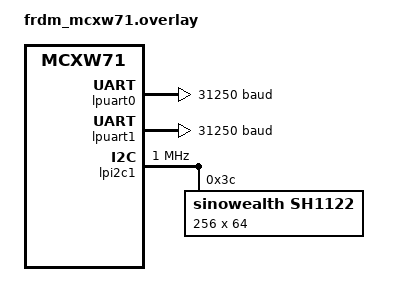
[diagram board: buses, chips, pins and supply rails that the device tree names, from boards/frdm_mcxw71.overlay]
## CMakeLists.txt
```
# @file CMakeLists.txt for the MIDI1.0 BLE heartrate sensor
#
# @author Jan-Willem Smaal <usenet@gispen.org> 
# @date 20260119 
# SPDX-License-Identifier: Apache-2.0
cmake_minimum_required(VERSION 3.20.0)
find_package(Zephyr REQUIRED HINTS $ENV{ZEPHYR_BASE})
project(central_hr)

# for the USB MIDI sources
include(common/common.cmake)

# Application logic
FILE(GLOB app_sources src/*.c)

target_include_directories(app PRIVATE)

target_sources(app PRIVATE
	${app_sources})

zephyr_library_include_directories(${ZEPHYR_BASE}/samples/bluetooth)
```

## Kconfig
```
source "Kconfig.zephyr"
rsource "src/Kconfig"

# Copyright (c) 2024 Titouan Christophe
# SPDX-License-Identifier: Apache-2.0

# Copyright (c) 2023 Nordic Semiconductor ASA
# SPDX-License-Identifier: Apache-2.0

menu "USB sample options"
	depends on USB_DEVICE_STACK_NEXT

config SAMPLE_USBD_MANUFACTURER
	string "USB device sample manufacturer string"
	default "Jan-Willem Smaal"
	help
	  USB device sample manufacturer string.

config SAMPLE_USBD_PRODUCT
	string "USB device sample product string"
	default "USBD"
	help
	  USB device sample product stringa.

config SAMPLE_USBD_PID
	hex "USB device sample Product ID"
	default 0x0011
	help
	  USB device sample Product ID.

config SAMPLE_USBD_SELF_POWERED
	bool "USB device sample Self-powered attribute"
	default y
	help
	  Set the Self-powered attribute in the sample configuration.

config SAMPLE_USBD_REMOTE_WAKEUP
	bool "USB device sample Remote Wakeup attribute"
	help
	  Set the Remote Wakeup attribute in the sample configuration.

config SAMPLE_USBD_MAX_POWER
	int "USB device sample bMaxPower value"
	default 125
	range 0 250
	help
	  bMaxPower value in the sample configuration in 2 mA units.

config SAMPLE_USBD_20_EXTENSION_DESC
	bool "Use default USB 2.0 Extension Descriptor"
	depends on USBD_BOS_SUPPORT
	help
	  Set bcdUSB value to 0201 and use default USB 2.0 Extension Descriptor.

endmenu
```

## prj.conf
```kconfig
##########################################################################
# @file prj.conf
# @brief This BLE + MIDI1.0 Zepyr application takes a BPM reading from
# BLE and transmits/generates a MIDI clock on the serial USART.
# @note
#
# @author Jan-Willem Smaal <usenet@gispen.org
# @date 20251220
# license SPDX-License-Identifier: Apache-2.0
##########################################################################
CONFIG_THREAD_NAME=y
CONFIG_INIT_STACKS=y
CONFIG_STACK_SENTINEL=n
CONFIG_ASSERT=n
CONFIG_LOG=y
CONFIG_LOG_DEFAULT_LEVEL=3
CONFIG_LOG_MODE_DEFERRED=n

# Some shell commands to look at the stack during runtime.
CONFIG_SHELL=y
CONFIG_UART_CONSOLE=y
CONFIG_CONSOLE=y
CONFIG_DEVICE_SHELL=y
CONFIG_SHELL_CMDS=y
CONFIG_KERNEL_SHELL=y
CONFIG_THREAD_MONITOR=y
CONFIG_THREAD_STACK_INFO=y
CONFIG_SYS_HEAP_RUNTIME_STATS=y


##########################################################################
# All the MIDI1.0 stuff by Jan-Willem Smaal 
##########################################################################
CONFIG_SERIAL=y
CONFIG_UART_INTERRUPT_DRIVEN=y
CONFIG_MIDI1_SERIAL=y
CONFIG_COUNTER=y
CONFIG_MIDI1_CLOCK_CNTR=y
CONFIG_MIDI1_CLOCK_MEAS_CNTR=y

##########################################################################
# Tune these settings to reduce the RAM footprint
##########################################################################
#CONFIG_IDLE_STACK_SIZE=128
# Heap: enough for CFB + SH1122 conversion buffer
#CONFIG_HEAP_MEM_POOL_SIZE=4096
# Stacks: enough to avoid corruption during SH1122 writes
CONFIG_MAIN_STACK_SIZE=4096
#CONFIG_SYSTEM_WORKQUEUE_STACK_SIZE=2048
CONFIG_ISR_STACK_SIZE=4096


##########################################################################
# Configure displays
##########################################################################
CONFIG_DISPLAY=y


##########################################################################
# BLE configs
##########################################################################
CONFIG_BT=y
CONFIG_LOG=y
CONFIG_BT_CENTRAL=y
CONFIG_BT_SMP=y
CONFIG_BT_GATT_CLIENT=y


##########################################################################
# USBD MIDI2.0 device support
##########################################################################
CONFIG_USB_DEVICE_STACK_NEXT=y
CONFIG_CDC_ACM_SERIAL_INITIALIZE_AT_BOOT=n
CONFIG_USBD_MIDI2_CLASS=y
CONFIG_SAMPLE_USBD_PRODUCT="USB MIDI2.0 J-W Smaal"
CONFIG_SAMPLE_USBD_PID=0x0011
CONFIG_USBD_LOG_LEVEL_WRN=n
CONFIG_UDC_DRIVER_LOG_LEVEL_WRN=n
CONFIG_MIDI2_UMP_STREAM_RESPONDER=y

# EOF
```

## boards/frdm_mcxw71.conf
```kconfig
##########################################################################
# @brief FRDM_MCXW71 additional .conf settings
# @author Jan-Willem Smaal <usenet@gispen.org
##########################################################################
# Don't want a shell on this board as the UART is used for MIDI
CONFIG_SHELL=n
CONFIG_UART_CONSOLE=n
CONFIG_CONSOLE=n
CONFIG_DEVICE_SHELL=n
CONFIG_SHELL_CMDS=n
CONFIG_KERNEL_SHELL=n
CONFIG_THREAD_MONITOR=n
CONFIG_THREAD_STACK_INFO=n
CONFIG_SYS_HEAP_RUNTIME_STATS=n


##########################################################################
# Tune these settings to reduce the RAM footprint
##########################################################################
#CONFIG_IDLE_STACK_SIZE=512
# Heap: enough for CFB + SH1122 conversion buffer
CONFIG_HEAP_MEM_POOL_SIZE=16448
# Stacks: enough to avoid corruption during SH1122 writes
#CONFIG_MAIN_STACK_SIZE=4096
#CONFIG_SYSTEM_WORKQUEUE_STACK_SIZE=2048
#CONFIG_ISR_STACK_SIZE=4096


##########################################################################
# Configure I2C displays 
##########################################################################
CONFIG_SH1122=y
CONFIG_DISPLAY_LOG_LEVEL_DBG=n
CONFIG_CHARACTER_FRAMEBUFFER=y
CONFIG_CHARACTER_FRAMEBUFFER_USE_DEFAULT_FONTS=y

# LVGL 
#
CONFIG_LVGL=y
CONFIG_LV_COLOR_DEPTH_32=y
CONFIG_DISPLAY=y
CONFIG_LVGL=y
#CONFIG_LV_Z_MEM_POOL_SIZE=16384
CONFIG_LV_Z_MEM_POOL_SIZE=32768

CONFIG_DISPLAY=y
CONFIG_INPUT=y


CONFIG_LV_FONT_MONTSERRAT_12=y
CONFIG_LV_FONT_MONTSERRAT_14=y
CONFIG_LV_FONT_MONTSERRAT_16=y
CONFIG_LV_FONT_MONTSERRAT_18=y
CONFIG_LV_FONT_MONTSERRAT_24=y
CONFIG_LV_USE_FONT_COMPRESSED=y


# EOF
```

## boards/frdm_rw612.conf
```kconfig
##########################################################################
#0 @brief FRDM_RW612 additional .conf settings
# @author Jan-Willem Smaal <usenet@gispen.org
##########################################################################

##########################################################################
# Tune these settings to reduce the RAM footprint
##########################################################################
#CONFIG_HEAP_MEM_POOL_SIZE=60000
#CONFIG_MAIN_STACK_SIZE=4096
#CONFIG_ISR_STACK_SIZE=8000

CONFIG_LVGL=y
CONFIG_LV_COLOR_DEPTH_32=y
CONFIG_DISPLAY=y
CONFIG_LVGL=y
#CONFIG_LV_Z_MEM_POOL_SIZE=16384
CONFIG_LV_Z_MEM_POOL_SIZE=32768

CONFIG_DISPLAY=y
CONFIG_INPUT=y


CONFIG_LV_FONT_MONTSERRAT_12=y
CONFIG_LV_FONT_MONTSERRAT_14=y
CONFIG_LV_FONT_MONTSERRAT_16=y
CONFIG_LV_FONT_MONTSERRAT_18=y
CONFIG_LV_FONT_MONTSERRAT_24=y
CONFIG_LV_USE_FONT_COMPRESSED=y


# EOF
```

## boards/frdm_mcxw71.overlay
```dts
/*
 * @brief FRDM-MCXW71 board configuration for the MIDI1.0 demo
 * @note
 *
 * @author Jan-Willem Smaal
 * @date 20250101
 * SPDX-License-Identifier: Apache-2.0
 */

/*
 * Classic MIDI1.0 over DIN5 plug.
 * note on the FRDM-MCXC242 the LPUART0 is shared with the MCU_LINK.
 * so be aware!   If you send printk's you need to set the baud rate
 * to 31250 from the default 115200 to see something usefull
 *
 * Also note anything you send out to the MCU_LINK will end up on the MIDI
 * port!
 *
 */
&lpuart0 {
	status = "okay";
	/* Set it to the MIDI baud rate */
	current-speed = <31250>;
};

/* This one is on the MIKRObus and is not shared with the MCU_LINK. */
&lpuart1 {
	status = "okay";
	/* Set it to the MIDI baud rate */
	current-speed = <31250>;
};

/*
 * This is the I2C module connected via the MIKRO bus 
 */
&lpi2c1 {
 	status = "okay";
	pinctrl-0 = <&pinmux_lpi2c1>;
	pinctrl-names = "default";
	clock-frequency = <I2C_BITRATE_FAST_PLUS>;
	/* 	clock-frequency = <I2C_BITRATE_FAST>; */

	sh1122: sh1122@3c {
		status = "okay";
		compatible = "sinowealth,sh1122";
		reg = <0x3c>;
		start-line = <0>;
		label = "SH1122";
		width = <256>;
		height = <64>;
		display-offset = <0>;
		multiplex-ratio = <63>;
		oscillator-freq = <0x90>;
		start-line = <0>;
		phase-length = <0x31>;
		vcomh-voltage = <0x28>;
		precharge-voltage = <0x22>;
		dc-dc = <1>;
		low-voltage = <0x0>;
	};
};

/* Overlay enabling LPIT0 channel 0 */
/*
&lpit0 {
    status = "okay";

    lpit1_channel0: lpit_channel@0 {
        status = "okay";
    };
};
*/


/ {
	aliases {
		i2c0 = &lpi2c1;
	};
	midi0: midi0 {
		status = "okay";
		compatible = "midi1_serial";
		uart = <&lpuart0>;
	};
	midi1: midi1 {
		status = "okay";
		compatible = "midi1_serial";
		uart = <&lpuart1>;
	};
	chosen {
                zephyr,display = &sh1122; 
        };
};
```

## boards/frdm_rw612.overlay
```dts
/**
 * Device tree overlay created for the FRDM_RW612 development kit
 * adjusted the pinmux so that we can use it for MIDI out and in.
 * @author Jan-Willem Smaal <usenet@gispen.org>
 * @date 20241223
 * updated in 20260206
 * license SPDX-License-Identifier: Apache-2.0
 */
 
 /* Let's make sure both are enabled and act in the same way as the pit0 */
&ctimer0 {
	status = "okay";
	/* Divide 260 MHz by 4 → 24 MHz timer */
	prescale = <11>;
};
&ctimer1 {
	status = "okay";
	/* Divide 260 MHz by 4 → 24 MHz timer */
	prescale = <11>;
};

/* 
 * Configured with the MIDI BAUD rate of 31250 
 * This is the USART on the MIDI arduino shield. 
 * GPIO 8 and 9. 
 */
&flexcomm1 {
	compatible = "nxp,lpc-usart";
	status = "okay";
	current-speed = <31250>;
	pinctrl-0 = <&pinmux_flexcomm1_usart>;
	pinctrl-names = "default";
};

/* 
 * We want to set flexcomm1 to USART instead of the default. 
 * this is why we need to set the pinmux here. 
 */
&pinctrl {
	pinmux_flexcomm1_usart: pinmux_flexcomm1_usart {
		group0 {
			pinmux = <IO_MUX_FC1_USART_DATA>;
			slew-rate = "normal";
		};
	};
};

/ {
	aliases {
		counterch0 = &ctimer0;
		counterch1 = &ctimer1;
	};
	/* MIDI1.0 serial USART driver, set the uart baud to 31250. */
	midi0: midi0 {
		status = "okay";
		compatible = "midi1_serial";
		uart = <&flexcomm1>;
	};
	/* MIDI1.0 clock generator for SERIAL MIDI1.0 */
	midi1_clock_cntr: midi1_clock_cntr {
		status = "okay";
		compatible = "midi1_clock_cntr";
		counter = <&ctimer0>;
		midi1_serial = <&midi0>;
	};
	/* MIDI1.0 clock measurement system using the Zephyr timer */
	midi1_clock_meas_cntr: midi1_clock_meas_cntr {
		status = "okay";
		compatible = "midi1_clock_meas_cntr";
		counter = <&ctimer1>;
	};
	/* Zephyr USB MIDI2.0 driver */ 
	usb_midi: usb_midi {
		compatible = "zephyr,midi2-device";
		status = "okay";
		#address-cells = <1>;
		#size-cells = <1>;
		label = "Zephyr USB-MIDI";

		midi_in_out@0 {
			reg = <0 1>;
			protocol = "midi1-up-to-128b";
			label = "MIDI-IN-OUT";
		};
	};
};

/* EOF */
```

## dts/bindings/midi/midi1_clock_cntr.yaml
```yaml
description: MIDI1 clock system
compatible: "midi1_clock_cntr"

properties:
  counter:
    type: phandle
    required: true
    description: counter device
  midi1_serial:
    type: phandle
    required: true
    description: serial midi1 device
```

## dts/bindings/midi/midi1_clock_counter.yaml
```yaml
description: MIDI1 clock system
compatible: "midi1_clock_counter"

properties:
  counter:
    type: phandle
    required: true
    description: counter device
  midi1_serial:
    type: phandle
    required: true
    description: serial midi1 device
```

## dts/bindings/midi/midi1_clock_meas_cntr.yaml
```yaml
description: MIDI1 clock measurement system
compatible: "midi1_clock_meas_cntr"

properties:
  counter:
    type: phandle
    required: true
    description: counter device
```

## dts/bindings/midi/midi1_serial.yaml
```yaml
description: MIDI1 UART-based MIDI driver
compatible: "midi1_serial"

properties:
  uart:
    type: phandle
    required: true
    description: UART device used for MIDI I/O
```

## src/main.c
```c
/**
 * @brief MIDI 1.0 human clock
 *
 * @author Jan-Willem Smaal <usenet@gispen.org>
 * @date 20260107
 *
 * license SPDX-License-Identifier: Apache-2.0
 */

/*
 * Bluetooth hr central example used is:
 * Copyright (c) 2015-2016 Intel Corporation
 *
 * SPDX-License-Identifier: Apache-2.0
 */
#include <stddef.h>
#include <errno.h>
#include <lvgl.h>
#include <string.h>
#include <zephyr/types.h>
#include <zephyr/kernel.h>
#include <zephyr/logging/log.h>
#include <zephyr/devicetree.h>
#include <zephyr/drivers/display.h>
#include <zephyr/bluetooth/bluetooth.h>
#include <zephyr/bluetooth/hci.h>
#include <zephyr/bluetooth/conn.h>
#include <zephyr/bluetooth/uuid.h>
#include <zephyr/bluetooth/gatt.h>
#include <zephyr/sys/byteorder.h>
#include <zephyr/sys/atomic.h>
#include <zephyr/sys/printk.h>

/*
 * This is part of the MIDI2 library prj.conf
 * CONFIG_MIDI2_UMP_STREAM_RESPONDER=y
 * /zephyr/lib/midi2/ump_stream_responder.h
 * it gets linked in and is required for the USB MIDI support.
 */
#include <sample_usbd.h>
#include <zephyr/usb/class/usbd_midi2.h>
#include <ump_stream_responder.h>

/* This is the MIDI module at: https://github.com/jw-smaal/zephyr-midi1  */
#include <zephyr/drivers/midi/midi1_serial.h>
#include <zephyr/drivers/midi/midi1_clock_cntr.h>
#include <zephyr/drivers/midi/midi1_clock_meas_cntr.h>
#include <zephyr/drivers/midi/midi1_blockavg.h>

/* Some MIDI1 helpers that are not drivers */
#include "midi1_pll.h"
#include "note.h"

/* My application logic */
#include "common.h"
#include "model.h"

LOG_MODULE_REGISTER(midi1_human_clock, CONFIG_LOG_DEFAULT_LEVEL);

#define USB_MIDI_DT_NODE DT_NODELABEL(usb_midi)
static const struct device *const midi_usb = DEVICE_DT_GET(USB_MIDI_DT_NODE);

static void start_scan(void);
static struct bt_conn *default_conn;
static struct bt_uuid_16 discover_uuid = BT_UUID_INIT_16(0);
static struct bt_gatt_discover_params discover_params;
static struct bt_gatt_subscribe_params subscribe_params;
uint64_t total_rx_count; /* This value is exposed to test code */

/* Global BPM set by the bluetooth HR service */
static uint8_t g_bpm = 0;
static atomic_t atom_bpm = ATOMIC_INIT(0);

uint8_t atom_bpm_get(void)
{
	return (uint8_t)atomic_get(&atom_bpm);
}

static uint8_t notify_func(struct bt_conn *conn, struct bt_gatt_subscribe_params *params,
			   const void *data, uint16_t length)
{
	if (!data) {
		LOG_ERR("[UNSUBSCRIBED]");
		params->value_handle = 0U;
		return BT_GATT_ITER_STOP;
	}

	const uint8_t *d = data;

	/* HRM format: d[0] = flags, d[1] = BPM */
	if (length >= 2) {
		uint8_t flags = d[0];
		uint8_t bpm = d[1];

		LOG_INF("HR Notification: BPM=%u flags=0x%02x len=%u", bpm, flags, length);
		g_bpm = bpm;
		atomic_set(&atom_bpm, bpm);
	}
	total_rx_count++;

	return BT_GATT_ITER_CONTINUE;
}

static uint8_t discover_func(struct bt_conn *conn, const struct bt_gatt_attr *attr,
			     struct bt_gatt_discover_params *params)
{
	int err;

	if (!attr) {
		LOG_INF("Discover complete");
		(void)memset(params, 0, sizeof(*params));
		return BT_GATT_ITER_STOP;
	}

	LOG_INF("[ATTRIBUTE] handle %u", attr->handle);

	if (!bt_uuid_cmp(discover_params.uuid, BT_UUID_HRS)) {
		memcpy(&discover_uuid, BT_UUID_HRS_MEASUREMENT, sizeof(discover_uuid));
		discover_params.uuid = &discover_uuid.uuid;
		discover_params.start_handle = attr->handle + 1;
		discover_params.type = BT_GATT_DISCOVER_CHARACTERISTIC;

		err = bt_gatt_discover(conn, &discover_params);
		if (err) {
			LOG_ERR("Discover failed (err %d)", err);
		}
	} else if (!bt_uuid_cmp(discover_params.uuid, BT_UUID_HRS_MEASUREMENT)) {
		memcpy(&discover_uuid, BT_UUID_GATT_CCC, sizeof(discover_uuid));
		discover_params.uuid = &discover_uuid.uuid;
		discover_params.start_handle = attr->handle + 2;
		discover_params.type = BT_GATT_DISCOVER_DESCRIPTOR;
		subscribe_params.value_handle = bt_gatt_attr_value_handle(attr);

		err = bt_gatt_discover(conn, &discover_params);
		if (err) {
			LOG_ERR("Discover failed (err %d)", err);
		}
	} else {
		subscribe_params.notify = notify_func;
		subscribe_params.value = BT_GATT_CCC_NOTIFY;
		subscribe_params.ccc_handle = attr->handle;

		err = bt_gatt_subscribe(conn, &subscribe_params);
		if (err && err != -EALREADY) {
			LOG_ERR("Subscribe failed (err %d)", err);
		} else {
			LOG_INF("[SUBSCRIBED]");
		}

		return BT_GATT_ITER_STOP;
	}

	return BT_GATT_ITER_STOP;
}

static bool eir_found(struct bt_data *data, void *user_data)
{
	bt_addr_le_t *addr = user_data;
	int i;

	LOG_INF("[AD]: %u data_len %u", data->type, data->data_len);

	switch (data->type) {
	case BT_DATA_UUID16_SOME:
	case BT_DATA_UUID16_ALL:
		if (data->data_len % sizeof(uint16_t) != 0U) {
			LOG_INF("AD malformed");
			return true;
		}

		for (i = 0; i < data->data_len; i += sizeof(uint16_t)) {
			struct bt_conn_le_create_param *create_param;
			struct bt_le_conn_param *param;
			const struct bt_uuid *uuid;
			uint16_t u16;
			int err;

			memcpy(&u16, &data->data[i], sizeof(u16));
			uuid = BT_UUID_DECLARE_16(sys_le16_to_cpu(u16));
			if (bt_uuid_cmp(uuid, BT_UUID_HRS)) {
				continue;
			}

			err = bt_le_scan_stop();
			if (err) {
				LOG_ERR("Stop LE scan failed (err %d)", err);
				continue;
			}

			LOG_INF("Creating connection with Coded PHY support");
			param = BT_LE_CONN_PARAM_DEFAULT;
			create_param = BT_CONN_LE_CREATE_CONN;
			create_param->options |= BT_CONN_LE_OPT_CODED;
			err = bt_conn_le_create(addr, create_param, param, &default_conn);
			if (err) {
				LOG_INF("Coded PHY connection failed (err %d), trying non-Coded",
					err);

				create_param->options &= ~BT_CONN_LE_OPT_CODED;
				err = bt_conn_le_create(addr, create_param, param, &default_conn);
				if (err) {
					LOG_ERR("Create connection failed (err %d)", err);
					start_scan();
				}
			}

			return false;
		}
	}

	return true;
}

static void device_found(const bt_addr_le_t *addr, int8_t rssi, uint8_t type,
			 struct net_buf_simple *ad)
{
	char dev[BT_ADDR_LE_STR_LEN];

	bt_addr_le_to_str(addr, dev, sizeof(dev));
	LOG_INF("[DEVICE]: %s, AD evt type %u, AD data len %u, RSSI %i", dev, type, ad->len, rssi);

	/* We're only interested in legacy connectable events or
	 * possible extended advertising that are connectable.
	 */
	if (type == BT_GAP_ADV_TYPE_ADV_IND || type == BT_GAP_ADV_TYPE_ADV_DIRECT_IND ||
	    type == BT_GAP_ADV_TYPE_EXT_ADV) {
		bt_data_parse(ad, eir_found, (void *)addr);
	}
}

static void start_scan(void)
{
	int err;

	/* Use active scanning and disable duplicate filtering to handle any
	 * devices that might update their advertising data at runtime. */
	struct bt_le_scan_param scan_param = {
		.type = BT_LE_SCAN_TYPE_ACTIVE,
		.options = BT_LE_SCAN_OPT_CODED,
		.interval = BT_GAP_SCAN_FAST_INTERVAL,
		.window = BT_GAP_SCAN_FAST_WINDOW,
	};

	err = bt_le_scan_start(&scan_param, device_found);
	if (err) {
		LOG_INF("Scanning with Coded PHY failed (err %d), trying without", err);

		scan_param.options &= ~BT_LE_SCAN_OPT_CODED;
		err = bt_le_scan_start(&scan_param, device_found);
		if (err) {
			LOG_ERR("Scanning failed to start (err %d)", err);
			return;
		}
	}

	LOG_INF("Scanning successfully started");
}

static void connected(struct bt_conn *conn, uint8_t conn_err)
{
	char addr[BT_ADDR_LE_STR_LEN];
	int err;

	bt_addr_le_to_str(bt_conn_get_dst(conn), addr, sizeof(addr));

	if (conn_err) {
		LOG_ERR("Failed to connect to %s (%u)", addr, conn_err);

		bt_conn_unref(default_conn);
		default_conn = NULL;

		start_scan();
		return;
	}

	LOG_INF("Connected: %s", addr);

	total_rx_count = 0U;

	if (conn == default_conn) {
		memcpy(&discover_uuid, BT_UUID_HRS, sizeof(discover_uuid));
		discover_params.uuid = &discover_uuid.uuid;
		discover_params.func = discover_func;
		discover_params.start_handle = BT_ATT_FIRST_ATTRIBUTE_HANDLE;
		discover_params.end_handle = BT_ATT_LAST_ATTRIBUTE_HANDLE;
		discover_params.type = BT_GATT_DISCOVER_PRIMARY;

		err = bt_gatt_discover(default_conn, &discover_params);
		if (err) {
			LOG_ERR("Discover failed (err %d)", err);
			return;
		}
	}
}

static void disconnected(struct bt_conn *conn, uint8_t reason)
{
	char addr[BT_ADDR_LE_STR_LEN];

	bt_addr_le_to_str(bt_conn_get_dst(conn), addr, sizeof(addr));

	LOG_INF("Disconnected: %s, reason 0x%02x %s", addr, reason, bt_hci_err_to_str(reason));

	if (default_conn != conn) {
		return;
	}

	bt_conn_unref(default_conn);
	default_conn = NULL;

	start_scan();
}

BT_CONN_CB_DEFINE(conn_callbacks) = {
	.connected = connected,
	.disconnected = disconnected,
};

static void on_ump_packet(const struct device *dev, const struct midi_ump ump)
{
	if (UMP_MT(ump) == UMP_MT_SYS_RT_COMMON) {
		if (UMP_MIDI_STATUS(ump) == RT_TIMING_CLOCK) {
			/* MIDI Clock handled elsewhere */
		}
	}
}

/**
 * @brief Light up the LED (if any) when USB-MIDI2.0 is active towards the PC
 */
static void on_device_ready(const struct device *dev, const bool ready)
{
	LOG_INF("MIDI USBD device ready!");
}

/* rx callback struct for the clock tests we use 'on_ump_packet' */
static const struct usbd_midi_ops ump_ops = {
	.rx_packet_cb = on_ump_packet,
	.ready_cb = on_device_ready,
};

/*
 * This get's called every 24PQN from the driver.
 * because it's timing sensitive call anything that runs for
 * a longer time in a workqueue.
 */
void midi1_clock_cntr_callback(void)
{
	static uint8_t i;

	/* USBD MIDI */
	if (midi_usb) {
		usbd_midi_send(midi_usb, midi1_timing_clock());
	}

	/* 0 --> 23 = 24 pulses */
	if (i < 23) {
		i++;
	} else {
		LOG_DBG("[P]");
		i = 0;
	}
}

int main(void)
{
	int err;

	/* Initialize Bluetooth */
	err = bt_enable(NULL);
	if (err) {
		LOG_ERR("Bluetooth init failed (err %d)", err);
		return err;
	}

	LOG_INF("Bluetooth initialized");
	start_scan();

	/* Initialize Serial MIDI1 */
	const struct device *midi_serial = DEVICE_DT_GET(DT_NODELABEL(midi0));
	if (!device_is_ready(midi_serial)) {
		LOG_ERR("Serial MIDI1 device not ready");
		return -ENODEV;
	}

	const struct midi1_serial_api *mid_api = midi_serial->api;

	LOG_INF("MIDI1 sending initial note...");
	mid_api->note_on(midi_serial, CH16, 1, 60);
	k_sleep(K_MSEC(290));
	mid_api->note_off(midi_serial, CH16, 1, 60);
	k_sleep(K_MSEC(290));

	/* Initialize MIDI clock driver */
	const struct device *clk = DEVICE_DT_GET(DT_NODELABEL(midi1_clock_cntr));
	if (!device_is_ready(clk)) {
		LOG_ERR("MIDI1 clock counter device not ready");
		return -ENODEV;
	}

	const struct midi1_clock_cntr_api *mid_clk = clk->api;
	mid_clk->gen_sbpm(clk, 12000); /* Initial 120.00 BPM */
	mid_clk->register_callback(clk, midi1_clock_cntr_callback);

	/* Initialize MIDI clock measurement driver */
	const struct device *meas = DEVICE_DT_GET(DT_NODELABEL(midi1_clock_meas_cntr));
	if (!device_is_ready(meas)) {
		LOG_ERR("MIDI1 clock measurement device not ready");
		return -ENODEV;
	}

	const struct midi1_clock_meas_cntr_api *mid_meas = meas->api;

	/* Initialize USBD MIDI2.0 */
	if (midi_usb && device_is_ready(midi_usb)) {
		struct usbd_context *sample_usbd;

		usbd_midi_set_ops(midi_usb, &ump_ops);
		sample_usbd = sample_usbd_init_device(NULL);
		if (sample_usbd == NULL) {
			LOG_ERR("Failed to initialize USB device");
		} else {
			err = usbd_enable(sample_usbd);
			if (err) {
				LOG_ERR("Failed to enable USBD (err %d)", err);
			} else {
				LOG_INF("USB device support enabled");
			}
		}
	}

	/* My application model */
	model_init();

	while (1) {
		uint16_t gen_sbpm = (uint16_t)atom_bpm_get() * 100U;

		LOG_DBG("Measured incoming SBPM %d, Target %d", mid_meas->get_sbpm(meas), gen_sbpm);

		if (gen_sbpm > 0) {
			mid_clk->gen_sbpm(clk, gen_sbpm);
		}

		model_set(true, atom_bpm_get(), mid_meas->get_sbpm(meas), 0, 0);

		k_sleep(K_MSEC(4000));

#define MIDI_TEST_PATTERN 1
#if MIDI_TEST_PATTERN
		/* Test Pattern Logic */
		for (uint8_t value = 0; value < 16; value++) {
			mid_api->control_change(midi_serial, CH16, 1, value);
			k_sleep(K_MSEC(290));
		}
		for (uint8_t value = 60; value < 66; value++) {
			mid_api->note_on(midi_serial, CH7, value, 100);
			k_sleep(K_MSEC(310));
		}
		for (uint8_t value = 60; value < 66; value++) {
			mid_api->note_off(midi_serial, CH7, value, 100);
		}
#endif
	}

	return 0;
}
```

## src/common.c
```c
/**
 * Common stuff
 *
 * @author Jan-Willem Smaal <usenet@gispen.org>
 * @date 20260107
 *
 * license SPDX-License-Identifier: Apache-2.0
 */
#include "common.h"
#include "midi1_pll.h"

/* Global pll */
struct midi1_pll_data g_pll;
```

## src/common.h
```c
#ifndef COMMON_H
#define COMMON_H
/**
 * Common stuff
 *
 * @author Jan-Willem Smaal <usenet@gispen.org>
 * @date 20260107
 *
 * license SPDX-License-Identifier: Apache-2.0
 */
#include <stdio.h>
#include <zephyr/device.h>
#include <zephyr/kernel.h>
#include <zephyr/devicetree.h>
#include <zephyr/sys/printk.h>
#include <zephyr/devicetree.h>
#include <zephyr/drivers/display.h>
#include <zephyr/display/cfb.h>

#include <lvgl.h>
#include <string.h>
#include <zephyr/logging/log.h>

#define MIDI_LINE_MAX 128

#define MIDI_MSGQ_MAX 32
/* Defined in midi1_receive_thread */
extern struct k_msgq midi_msgq;

/* Global pll */
#include "midi1_pll.h"
extern struct midi1_pll_data g_pll;

#endif
```

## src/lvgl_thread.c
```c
/**
 * LVGL LCD Graphical user interface
 *
 * @author Jan-Willem Smaal <usenet@gispen.org>
 * @date 20260107
 *
 * license SPDX-License-Identifier: Apache-2.0
 */
#include <stdio.h>
#include <zephyr/device.h>
#include <zephyr/kernel.h>
#include <zephyr/devicetree.h>
#include <zephyr/sys/printk.h>
#include <zephyr/devicetree.h>
#include <zephyr/drivers/display.h>
#include <zephyr/display/cfb.h>

#include <lvgl.h>
#include <string.h>
#include <zephyr/logging/log.h>

/* Zephyr MIDI module from: https://github.com/jw-smaal/zephyr-midi1 */
#include <zephyr/drivers/midi/midi1.h>

#include "common.h"
#include "model.h"

LOG_MODULE_REGISTER(lvgl_screen1, CONFIG_LOG_DEFAULT_LEVEL);
/*
 *  GLOBALS
 */
static lv_obj_t *label_title;
static lv_obj_t *label_bpm;
static lv_obj_t *label_pll;
static lv_obj_t *label_meas;
static lv_obj_t *ta_midi;

/* Strip chart */
static lv_obj_t *pll_chart;
static lv_chart_series_t *pll_ser;
static lv_chart_series_t *meas_ser;

/*
 *  GUI INITIALIZATION (480×320 landscape)
 */

[[maybe_unused]] static void initialize_gui2(void)
{
	/* Screen background (solid black, no transparency) */
	lv_obj_set_style_bg_color(lv_screen_active(), lv_color_black(), LV_PART_MAIN);
	lv_obj_set_style_bg_opa(lv_screen_active(), LV_OPA_COVER, LV_PART_MAIN);

	/* Default text: white, size 14 */
	lv_obj_set_style_text_color(lv_screen_active(), lv_color_white(), LV_PART_MAIN);
	lv_obj_set_style_text_font(lv_screen_active(), &lv_font_montserrat_14, LV_PART_MAIN);
	/* =====================================================
	 *  TOP BAR
	 * ===================================================== */
	/* Left: static title */
	label_title = lv_label_create(lv_screen_active());
	lv_label_set_text(label_title, "MIDI Monitor ");
	lv_obj_align(label_title, LV_ALIGN_TOP_LEFT, 6, 4);
}

static void initialize_gui(void)
{
	lv_obj_set_style_bg_color(lv_screen_active(), lv_color_white(), LV_PART_MAIN);
	lv_obj_set_style_bg_opa(lv_screen_active(), LV_OPA_COVER, LV_PART_MAIN);
	// lv_obj_set_style_text_color(lv_screen_active(),
	//                            lv_color_black(), LV_PART_MAIN);
	lv_obj_set_style_text_font(lv_screen_active(), &lv_font_montserrat_14, LV_PART_MAIN);

	/* =====================================================
	 *  TOP BAR
	 * ===================================================== */
	/* Left: static title */
	label_title = lv_label_create(lv_screen_active());
	lv_label_set_text(label_title, "by J-W Smaal");
	lv_obj_align(label_title, LV_ALIGN_BOTTOM_RIGHT, 0, 0);

	/* Right: BPM in larger font */
	label_bpm = lv_label_create(lv_screen_active());
	lv_obj_set_style_text_font(label_bpm, &lv_font_montserrat_24, LV_PART_MAIN);
	// lv_obj_set_style_text_color(label_bpm,
	//			    lv_color_hex(0xA0ff00),   /* Blue */
	//			    LV_PART_MAIN);
	lv_label_set_text(label_bpm, "");
	lv_obj_align(label_bpm, LV_ALIGN_TOP_RIGHT, 0, 0);

	/* Left: PLL measurement on the left */
	label_pll = lv_label_create(lv_screen_active());
	lv_obj_set_style_text_font(label_pll, &lv_font_montserrat_18, LV_PART_MAIN);
	// lv_obj_set_style_text_color(label_pll,
	//			    lv_color_hex(0x00ffA0),   /* green */
	//			    LV_PART_MAIN);
	lv_label_set_text(label_pll, "P");
	lv_obj_align(label_pll, LV_ALIGN_TOP_LEFT, 0, 0);

	/* Left: PLL measurement on the left */
	label_meas = lv_label_create(lv_screen_active());
	lv_obj_set_style_text_font(label_meas, &lv_font_montserrat_18, LV_PART_MAIN);
	// lv_obj_set_style_text_color(label_meas,
	//			    lv_color_hex(0x00ff00),   /* green */
	//			    LV_PART_MAIN);
	lv_label_set_text(label_meas, "M");
	lv_obj_align(label_pll, LV_ALIGN_TOP_LEFT, 0, 25);

	/* =====================================================
	 *  PLL LINE CHART (simple scrolling chart)
	 * ===================================================== */
	pll_chart = lv_chart_create(lv_screen_active());
	lv_obj_set_style_size(pll_chart, 0, 0, LV_PART_ITEMS);
	lv_obj_set_size(pll_chart, 390, 120);
	lv_obj_align(pll_chart, LV_ALIGN_BOTTOM_LEFT, 20, -20);

	lv_chart_set_type(pll_chart, LV_CHART_TYPE_LINE);
	/* history window */
	lv_chart_set_point_count(pll_chart, 100);
	lv_chart_set_update_mode(pll_chart, LV_CHART_UPDATE_MODE_SHIFT);
	/* PLL values range from 4000 --> 30000 */
	lv_chart_set_range(pll_chart, LV_CHART_AXIS_PRIMARY_Y, 4000, 30000);
	pll_ser = lv_chart_add_series(pll_chart, lv_palette_main(LV_PALETTE_BLUE),
				      LV_CHART_AXIS_PRIMARY_Y);
	meas_ser = lv_chart_add_series(pll_chart, lv_palette_main(LV_PALETTE_RED),
				       LV_CHART_AXIS_PRIMARY_Y);

	/* =====================================================
	 *  CENTER: LARGE SCROLLABLE TEXT WINDOW
	 * ===================================================== */
	ta_midi = lv_textarea_create(lv_screen_active());
	lv_obj_set_style_text_font(ta_midi, &lv_font_montserrat_12, LV_PART_MAIN);
	/* Size: nearly full screen minus top and bottom bar */
	lv_obj_set_size(ta_midi, 390, 120);
	lv_obj_align(ta_midi, LV_ALIGN_TOP_LEFT, 20, 60);
	/* No transparency */
	// lv_obj_set_style_bg_color(ta_midi, lv_color_black(), LV_PART_MAIN);
	lv_obj_set_style_bg_opa(ta_midi, LV_OPA_COVER, LV_PART_MAIN);
	/* Black text by default */
	lv_obj_set_style_text_color(ta_midi, lv_color_black(), LV_PART_MAIN);
	lv_textarea_set_text(ta_midi, "");
	lv_textarea_set_max_length(ta_midi, 4096);
	lv_textarea_set_cursor_click_pos(ta_midi, false);
}

#define MAX_MIDI_LINES 8
static int midi_line_count = 0;

static void ui_add_line(const char *msg)
{
	if (!ta_midi) {
		return;
	}

	/* If full, clear everything */
	if (midi_line_count >= MAX_MIDI_LINES) {
		lv_textarea_set_text(ta_midi, "");
		midi_line_count = 0;
	}

	/* Format new line */
	char buf[MIDI_LINE_MAX];
	snprintf(buf, sizeof(buf), "%s\n", msg);

	/* Append */
	lv_textarea_add_text(ta_midi, buf);
	midi_line_count++;
}

/* We get this one from main */
extern uint8_t atom_bpm_get(void);

#define MAX_MESSAGES_PER_TICK 3
void lvgl_thread(void)
{
	const struct device *display_dev;
	int ret;

	display_dev = DEVICE_DT_GET(DT_CHOSEN(zephyr_display));
	if (!device_is_ready(display_dev)) {
		LOG_ERR("Device not ready, aborting test");
		return;
	}

	initialize_gui();
	lv_timer_handler();
	ret = display_blanking_off(display_dev);
	if (ret < 0 && ret != -ENOSYS) {
		LOG_ERR("Failed to turn blanking off (error %d)", ret);
		return;
	}
	ui_add_line("...");
	initialize_gui();

	char line[MIDI_LINE_MAX];
	// struct midi1_raw mid_raw;
	struct human_bpm_model mod;
	while (1) {
		int processed = 0;
		uint32_t sleep_ms = 0;
		char buf[MIDI_LINE_MAX];
		char bpm_str[16];
		model_get(&mod);

		snprintf(buf, sizeof(buf), "BLE hr: %d BPM", mod.hr_bpm);
		LOG_DBG("%s", buf);
		lv_label_set_text(label_bpm, buf);

		sbpm_to_str(mod.meas_sbpm, bpm_str, sizeof(bpm_str));
		snprintf(buf, sizeof(buf), "Meas: %s", bpm_str);
		LOG_DBG("%s", buf);
		lv_label_set_text(label_meas, buf);
	
		sbpm_to_str(mod.pll_sbpm, bpm_str, sizeof(bpm_str));
		snprintf(buf, sizeof(buf), "PLL: %s", bpm_str);
		LOG_DBG("%s", buf);
		lv_label_set_text(label_pll, buf);

		/* Add PLL value to chart */
		lv_chart_set_next_value(pll_chart, pll_ser, mod.pll_sbpm);
		lv_chart_set_next_value(pll_chart, meas_ser, mod.meas_sbpm);

		/* Process at most N messages per iteration */
		while (processed < MAX_MESSAGES_PER_TICK &&
		       k_msgq_get(&midi_msgq, line, K_NO_WAIT) == 0) {
			ui_add_line(line);
			// ui_set_line(line);
			processed++;
		}
		sleep_ms = lv_timer_handler();
		k_msleep(sleep_ms);
	}
	return;
}

/* For LVGL had to increase the stack size */
K_THREAD_DEFINE(lvgl_thread_tid, 8192, lvgl_thread, NULL, NULL, NULL, 5, 0, 0);

/* EOF */
```

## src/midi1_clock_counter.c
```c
/**
 * @file midi1_clock_counter.c
 * @brief implementation of midi1_clock_clock
 * this is a _hardware_ based counter PIT0 channel 0
 * tested with NXP FRDM_MCXC242 in zephyr.
 *
 * @author Jan-Willem Smaal <usenet@gispen.org
 * @date 20251214
 * license SPDX-License-Identifier: Apache-2.0
 */
//#include <zephyr/audio/midi.h>
#include <zephyr/device.h>
#include <zephyr/drivers/counter.h>
#include <zephyr/logging/log.h>
LOG_MODULE_REGISTER(midi1_clock_counter, CONFIG_LOG_DEFAULT_LEVEL);

#if MIDI_USB_CONFIGURED
/* This is part of the MIDI2 library prj.conf
 * CONFIG_MIDI2_UMP_STREAM_RESPONDER=y
 * /zephyr/lib/midi2/ump_stream_responder.h it get's linked in.
 */
#include <sample_usbd.h>
#include <zephyr/usb/class/usbd_midi2.h>
#include <ump_stream_responder.h>
#endif


#define MIDI_CLOCK_ON_PIN 0

#if MIDI_CLOCK_ON_PIN
/*
 * To measure MIDI clock externally we toggle a PIN and measure with
 * the oscilloscope
 */
#include <zephyr/drivers/gpio.h>
#endif

/* MIDI helpers by J-W Smaal*/
#include "midi1.h"
#include "midi1_clock_counter.h"


#if LEGACY_CODE_BEING_PORTED
/* TODO: put this in a struct */
static atomic_t g_midi1_running_cntr = false;
static uint16_t g_sbpm = 0;
/* This is a USB-MIDI device handle */
static const struct device *g_midi1_dev;
const struct device *g_counter_dev;
static bool g_midi1_clk_count_up_clk = false;
#endif

/*
 * MIDI clock measurement on a PIN.
 * I used PTC8 on the FRDM_MCXC242 scope confirms correct implementation.  
 */
#if MIDI_CLOCK_ON_PIN
#define CLOCK_FREQ_OUT DT_NODELABEL(freq_out)
static const struct gpio_dt_spec clock_pin =
GPIO_DT_SPEC_GET(CLOCK_FREQ_OUT, gpios);

static void midi1_debug_gpio_init(void)
{
	int ret = gpio_pin_configure_dt(&clock_pin, GPIO_OUTPUT_INACTIVE);
	if (ret < 0) {
		LOG_ERR("Error configing pin");
		return;
	}
}
#endif

/* 
 * This is the ISR/callback
 * TODO: check if usbd_midi_send is non-blocking
 * TODO: add uart send as well
 */
static void midi1_cntr_handler(const struct device *actual_counter_dev,
			       void *midi1_clk_cntr_dev)
{
	/*
	 * The ISR prototype for the user data is void so we _have_ to
	 * cast it
	 */
	const struct device *midi1_cntr_device =
		(const struct device *)midi1_clk_cntr_dev;
	[[maybe_unused]] const struct midi1_clock_cntr_config *cfg = midi1_cntr_device->config;
	struct midi1_clock_cntr_data *data = midi1_cntr_device->data;
	
#if MIDI_CLOCK_ON_PIN
	gpio_pin_toggle_dt(&clock_pin);
#endif
	if (!data->running_cntr) {
		return;
	}
	if (data->usb_midi_dev) {
		//usbd_midi_send(g_midi1_dev, midi1_timing_clock());
	}
	if (data->midi1_serial_dev) {
		// Call something maybe to this in a callback instead?
	}
	return;
}

uint32_t midi1_clock_cntr_cpu_frequency(const struct device *dev)
{
	[[maybe_unused]] const struct midi1_clock_cntr_config *cfg = dev->config;
	struct midi1_clock_cntr_data *data = dev->data;
	
	return counter_get_frequency(data->counter_dev);
}

/*
 * Empty NO OP (noop) callbacks assigned if the caller leaves the callbacks
 * empty.
 */
static inline void midi1_clock_cntr_noop_cb()
{
}

/*
 * Initialize MIDI clock subsystem
 */
void midi1_clock_cntr_init(const struct device *dev)
{
	[[maybe_unused]] const struct midi1_clock_cntr_config *cfg = dev->config;
	struct midi1_clock_cntr_data *data = dev->data;
	
	data->running_cntr = false;
	data->sbpm = 12000;
	data->counter_dev = DEVICE_DT_GET(DT_ALIAS(COUNTER_DEVICE));
	
	if (!device_is_ready(data->counter_dev)) {
		LOG_ERR("Counter device not ready");
		return;
	}
	/* PIT0 counts down, ctimer0 counts up and cannot be changed */
	data->count_up_clk = counter_is_counting_up(data->counter_dev);
#if MIDI_CLOCK_ON_PIN
	/*
	 * TODO: future implementation make an optional GPIO output
	 * TODO: for the clock
	 */
#endif
	return;
}


/*
 * Start periodic MIDI clock. ticks must be > 0.
 */
void midi1_clock_cntr_ticks_start(const struct device *dev, uint32_t ticks)
{
	[[maybe_unused]] const struct midi1_clock_cntr_config *cfg = dev->config;
	struct midi1_clock_cntr_data *data = dev->data;
	
	int err = 0;
	if (ticks == 0u) {
		return;
	}
	data->running_cntr = true;
	LOG_INF("Ticks requested: %u", ticks);
	struct counter_top_cfg top_cfg = {
		.callback = midi1_cntr_handler,
		.user_data = (void *)dev,
		.ticks = ticks,
		.flags = 0,
	};

	err = counter_set_top_value(data->counter_dev, &top_cfg);
	if (err != 0) {
		LOG_ERR("Failed to set top value: %d", err);
		return;
	}

	/* Start the counter */
	err = counter_start(data->counter_dev);
	if (err != 0) {
		LOG_ERR("Failed to start counter: %d", err);
		return;
	}
}

/* TODO: is not working with PIT!! BUG in my thinking */
void midi1_clock_cntr_update_ticks(const struct device *dev, uint32_t new_ticks)
{
	[[maybe_unused]] const struct midi1_clock_cntr__config *cfg = dev->config;
	struct midi1_clock_cntr_data *data = dev->data;
	
	struct counter_top_cfg top_cfg = {
		.callback = midi1_cntr_handler,
		.user_data = (void *)dev,
		.ticks = new_ticks,
		.flags = COUNTER_TOP_CFG_DONT_RESET,    /* <-- KEY */
	};

	int err = counter_set_top_value(data->counter_dev, &top_cfg);
	if (err != 0) {
		LOG_ERR("Failed to set top value: %d", err);
		return;
	}
	LOG_INF("Updating ticks to: %u", new_ticks);
}

/*
 * Start periodic MIDI clock. interval_us must be > 0. 
 */
void midi1_clock_cntr_start(const struct device *dev, uint32_t interval_us)
{
	[[maybe_unused]] const struct midi1_clock_cntr_config *cfg = dev->config;
	struct midi1_clock_cntr_data *data = dev->data;
	
	int err = 0;
	if (interval_us == 0u || dev == NULL ) {
		return;
	}
	data->running_cntr = true;
	data->interval_us = interval_us;

	uint32_t ticks = counter_us_to_ticks(data->counter_dev,
					     data->interval_us);
	data->sbpm = us_interval_to_sbpm(data->interval_us);

	/*
	 * Configure top value when it overflows the midi1_cntr_handler is
	 * called as an ISR
	 */
	struct counter_top_cfg top_cfg = {
		.callback = midi1_cntr_handler,
		.user_data = (void *)dev,
		.ticks = ticks,
		.flags = 0,
	};

	err = counter_set_top_value(data->counter_dev, &top_cfg);
	if (err != 0) {
		LOG_ERR("Failed to set top value: %d", err);
		return;
	}

	/* Start the free running counter */
	err = counter_start(data->counter_dev);
	if (err != 0) {
		LOG_ERR("Failed to start counter: %d", err);
		return;
	}
}

/* Stop the clock */
void midi1_clock_cntr_stop(const struct device *dev)
{
	[[maybe_unused]] const struct midi1_clock_cntr_config *cfg = dev->config;
	struct midi1_clock_cntr_data *data = dev->data;
	
	data->running_cntr = false;
}

/**
 * @brief Generate MIDI1.0 clock
 */
void midi1_clock_cntr_gen(const struct device *dev, uint16_t sbpm)
{
	[[maybe_unused]] const struct midi1_clock_cntr_config *cfg = dev->config;
	[[maybe_unused]] struct midi1_clock_cntr_data *data = dev->data;
	
	midi1_clock_cntr_stop(dev);
	/* TODO: fixme when we are a proper device driver */
	midi1_clock_cntr_init(dev);
	uint32_t ticks = sbpm_to_ticks(sbpm,
	                               midi1_clock_cntr_cpu_frequency(dev));
	midi1_clock_cntr_ticks_start(dev, ticks);
}

void midi1_clock_cntr_gen_sbpm(const struct device *dev, uint16_t sbpm)
{
	[[maybe_unused]] const struct midi1_clock_cntr_config *cfg = dev->config;
	[[maybe_unused]] struct midi1_clock_cntr_data *data = dev->data;
	
	uint32_t ticks = sbpm_to_ticks(sbpm,
	                               midi1_clock_cntr_cpu_frequency(dev));
	midi1_clock_cntr_ticks_start(dev, ticks);
}

uint16_t midi1_clock_cntr_get_sbpm(const struct device *dev)
{
	[[maybe_unused]] const struct midi1_clock_cntr_config *cfg = dev->config;
	struct midi1_clock_cntr_data *data = dev->data;
	
	return data->sbpm;
}

/* Zephyr device driver API link to our actual implementation */
static const struct midi1_clock_cntr_api midi1_clock_cntr_driver_api = {
	.init = midi1_clock_cntr_init,
	
	.cpu_frequency = midi1_clock_cntr_cpu_frequency,
	.start         = midi1_clock_cntr_start,
	.ticks_start   = midi1_clock_cntr_ticks_start,
	.update_ticks  = midi1_clock_cntr_update_ticks,
	.stop          = midi1_clock_cntr_stop,
	.gen           = midi1_clock_cntr_gen,
	.gen_sbpm      = midi1_clock_cntr_gen_sbpm,
	.get_sbpm      = midi1_clock_cntr_get_sbpm,
};

#define DT_DRV_COMPAT midi1_clock_cntr

#define MIDI1_CLOCK_CNTR_DEFINE(inst)                                         \
static struct midi1_clock_cntr_data midi1_clock_cntr_data_##inst;             \
static const struct midi1_clock_cntr_config midi1_clock_cntr_config_##inst = {\
.counter_dev = DEVICE_DT_GET(DT_INST_PROP(inst, counter)),                    \
.usb_midi_dev = DEVICE_DT_GET(DT_INST_PROP(inst, usb_midi)),                  \
.midi1_serial_dev = DEVICE_DT_GET(DT_INST_PROP(inst, midi1_serial)),          \
};                                                                            \
DEVICE_DT_INST_DEFINE(inst,                                                   \
midi1_clock_cntr_init,                                                        \
NULL,                                                                         \
&midi1_clock_cntr_data_##inst,                                                \
&midi1_clock_cntr_##inst,                                                     \
POST_KERNEL,                                                                  \
CONFIG_KERNEL_INIT_PRIORITY_DEVICE,                                           \
&midi1_clock_cntr_driver_api);

DT_INST_FOREACH_STATUS_OKAY(MIDI1_CLOCK_CNTR_DEFINE)

/* EOF */
```

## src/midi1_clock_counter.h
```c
#ifndef MIDI1_CLOCK_COUNTER
#define MIDI1_CLOCK_COUNTER
/**
 * @file midi1_clock_counter.h
 * @brief MIDI1.0 clock driver for zephyr RTOS using hardware clock timer.
 * NXP pit0_channel0, ctimer lptimer or anything that supports the Zephyr
 * counter API.
 *
 * @author Jan-Willem Smaal <usenet@gispen.org>
 * @date 20251214
 * license SPDX-License-Identifier: Apache-2.0
 */
#include <zephyr/kernel.h>
#include <zephyr/sys/atomic.h>
#include <stdint.h>
#include <stddef.h>

/* Move to device tree */
#ifndef COUNTER_DEVICE
#define COUNTER_DEVICE counterch0
#endif

struct midi1_clock_cntr_config {
	/* TODO handle these assignments also see data */
	const struct device *counter_dev;
	const struct device *usb_midi_dev;
	const struct device *midi1_serial_dev;
};

struct midi1_clock_cntr_data {
	uint32_t interval_us;
	bool running_cntr;
	uint16_t sbpm;
	bool count_up_clk;
	/*
	 * remove me afterwards --> I want to move this to the overlay
	 * so they get assigned at driver kernel init
	 */
	const struct device *counter_dev;
	const struct device *usb_midi_dev;
	const struct device *midi1_serial_dev;
};

struct midi1_clock_cntr_api {
	void (*init)(const struct device *dev);
	uint32_t (*cpu_frequency)(const struct device *dev);
	void (*start)(const struct device *dev, uint32_t interval_us);
	void (*ticks_start)(const struct device * dev, uint32_t ticks);
	void (*update_ticks)(const struct device * dev, uint32_t new_ticks);
	void (*stop)(const struct device *dev);
	void (*gen)(const struct device *dev, uint16_t sbpm);
	void (*gen_sbpm)(const struct device *dev, uint16_t sbpm);
	uint16_t (*get_sbpm)(const struct device *dev);

};

/**
 * @brief Initialize MIDI clock subsystem with the MIDI device handle.
 *
 * @note Call once at startup before starting the clock.
 * @param midi1_dev MIDI device pointer
 */
void midi1_clock_cntr_init(const struct device *dev);

/**
 * @brief getter for the internal counter frequency in MHZ
 *
 * @return frequency in MHz
 */
uint32_t midi1_clock_cntr_cpu_frequency(const struct device *dev);

/**
 * @brief Start periodic MIDI clock. interval_us must be > 0.
 *
 * @param interval_us interval in us must be higher than 0
 */
void midi1_clock_cntr_start(const struct device *dev, uint32_t interval_us);

/**
 * @brief Start clock with MIDI ticks as argument (more accurate)
 *
 * @param ticks tick reference to the frequency in clocks
 * @see midi1_clock_cntr_cpu_frequency(void)
 */
void midi1_clock_cntr_ticks_start(const struct device *dev, uint32_t ticks);

/**
 * @brief placeholder for updating the clock
 *
 * @note this is not supported on PIT0 channel 0 on NXP
 */
void midi1_clock_cntr_update_ticks(const struct device *dev,
				   uint32_t new_ticks);

/**
 * @brief Stop the clock
 */
void midi1_clock_cntr_stop(const struct device *dev);

/**
 * @brief Generate MIDI1.0 clock
 *
 * @param midi1_dev MIDI device pointer
 * @param sbpm scaled BPM like 123.12 must be entered like 12312
 */
void midi1_clock_cntr_gen(const struct device *dev, uint16_t sbpm);

/**
 * @brief Generate MIDI1.0 clock
 *
 * @param sbpm scaled BPM like 123.12 must be entered like 12312
 */
void midi1_clock_cntr_gen_sbpm(const struct device *dev, uint16_t sbpm);

/**
 * @brief Getter for the current bpm
 *
 * @return sbpm scaled BPM like 123.12 is returned like 12312
 */
uint16_t midi1_clock_cntr_get_sbpm(const struct device *dev);

#endif /* MIDI1_CLOCK_COUNTER */
/* EOF */
```

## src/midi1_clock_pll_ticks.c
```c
/**
 * @file midi1_clock_pll_ticks.c
 * @brief Simple integer PLL for MIDI clock synchronization (24 PPQN).
 * @author Jan-Willem Smaal <usenet@gispen.org>
 * @date 20251229
 * license SPDX-License-Identifier: Apache-2.0
 */
#include <stdint.h>
/* For printk only */
#include <zephyr/kernel.h>

/* MIDI1.0 clock Phase Locked Loop (PLL) */
#include "midi1_clock_pll_ticks.h"
/* sbpm_to_us_interval() is defined here 1*/
#include "midi1.h"

static uint32_t midi1_nominal_interval_ticks;
static int32_t midi1_internal_interval_ticks;
static int32_t midi1_filtered_error = 0;
static uint32_t midi1_clock_freq = 0;

/* TODO: implement!!!  it's ignoring sbpm now! */
void midi1_pll_ticks_init(uint16_t sbpm, uint32_t clock_freq)
{
	// TODO: implement now set a static value
	midi1_nominal_interval_ticks = 503000;
	midi1_internal_interval_ticks = (int32_t) midi1_nominal_interval_ticks;
	midi1_filtered_error = 0;
	midi1_clock_freq = clock_freq;
}

/*
 * measured_interval_ticks is in hardware clock ticks of course
 */
void midi1_pll_ticks_process_interval(uint32_t measured_interval_ticks)
{
	if (measured_interval_ticks == 0U) {
		/* ignore bogus measurement */
		return;
	}

	/* 1. Interval error: measured - internal */
	int32_t error =
	    (int32_t) measured_interval_ticks - midi1_internal_interval_ticks;

	/* 2. Low-pass filter the error */
	midi1_filtered_error +=
	    (error - midi1_filtered_error) / MIDI1_PLL_FILTER_K;

	/* 3. Adjust internal interval around nominal */
	midi1_internal_interval_ticks =
	    (int32_t) midi1_nominal_interval_ticks +
	    midi1_filtered_error / MIDI1_PLL_GAIN_G;

	/*
	 * Slow tracking: adapt nominal interval towards long-term average.
	 *
	 * Add a small fraction of the filtered error each pulse.
	 * This makes nominal_interval_ticks follow real BPM over time.
	 */
	midi1_nominal_interval_ticks +=
	    (int32_t) midi1_filtered_error / MIDI1_PLL_TRACK_GAIN;

#if DEBUG_PLL
	printk("PLL meas=%u  err=%d  filt=%d  int=%d nominal=%d\n",
	       measured_interval_ticks,
	       error,
	       midi1_filtered_error,
	       midi1_internal_interval_ticks, midi1_nominal_interval_ticks);
#endif
}

int32_t midi1_pll_ticks_get_interval_ticks(void)
{
	return midi1_nominal_interval_ticks;
}

uint32_t midi1_pll_ticks_get_interval_us(void)
{
	if (midi1_clock_freq == 0) {
		return 0;
	}

	uint64_t us =
	    ((uint64_t) midi1_nominal_interval_ticks * 1000000ULL) /
	    midi1_clock_freq;
	return (uint32_t) us;
}
```

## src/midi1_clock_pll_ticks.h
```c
/**
 * @file midi1_clock_pll_ticks.h
 * @brief Simple integer PLL for MIDI clock synchronization (24 PPQN).
 * @author Jan-Willem Smaal
 * @date 20251229
 * license SPDX-License-Identifier: Apache-2.0
 */
#ifndef MIDI1_CLOCK_PLL_TICKS_H
#define MIDI1_CLOCK_PLL_TICKS_H
#include <stdint.h>

/* Loop filter constants */

/*
 * Low‑pass filter strength keep it high... sudden tempo changes
 * should be followed though.
 */
#define MIDI1_PLL_FILTER_K  4

/*
 * Correction gain keep it low we want to move towards the value
 * but not overshoot
 */
#define MIDI1_PLL_GAIN_G    4

/*
 * Slow loop tracking gain.
 */
#define MIDI1_PLL_TRACK_GAIN 32

#define DEBUG_PLL 0

/**
 * @brief Initialize the MIDI1 PLL with a nominal BPM.
 *
 * @param sbpm  Scaled BPM value (e.g. 12000 for 120.00 BPM)
 */
void midi1_pll_ticks_init(uint16_t sbpm, uint32_t clock_freq);

/**
 * @brief Process an incoming MIDI clock tick interval.
 *
 * @param measured_interval_ticks interval in ticks.
 */
void midi1_pll_ticks_process_interval(uint32_t measured_interval_ticks);

/**
 * @brief Get the current PLL‑corrected 24pqn interval in microseconds.
 *
 * @return interval in microseconds for the next 24pqn internal tick.
 */
uint32_t midi1_pll_ticks_get_interval_us(void);

/**
 * @brief Get the current PLL‑corrected 24pqn tick interval in ticks.
 *
 * @return Interval in ticks for the next 24pqn MIDI clock tick.
 */
int32_t midi1_pll_ticks_get_interval_ticks(void);

#endif                          /* MIDI1_CLOCK_PLL_TICKS_H */
```

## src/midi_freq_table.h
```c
/**
 * @file midi_freq_table.h
 * Precomputed frequencies for MIDI notes 0–127
 * used for embedded systems.  Based op A4 = 440Hz.
 * used by "note.h  / note.c" for the noteToFreq() function
 *
 * @author Jan-Willem Smaal <usenet@gispen.org>
 * license SPDX-License-Identifier: Apache-2.0
 */
#ifndef MIDI_FREQ_TABLE_H
#define MIDI_FREQ_TABLE_H

#include <stdint.h>

/* Base frequency for A4 (MIDI note 69) */
#define BASE_A4_NOTE_FREQ 440.0f

/* Precomputed frequencies for MIDI notes 0–127 (C-1 to G9) */
static const float midi_freq_table[128] = {
#include "midi_freq_table.inc"
};

#endif /* MIDI_FREQ_TABLE_H */
```
